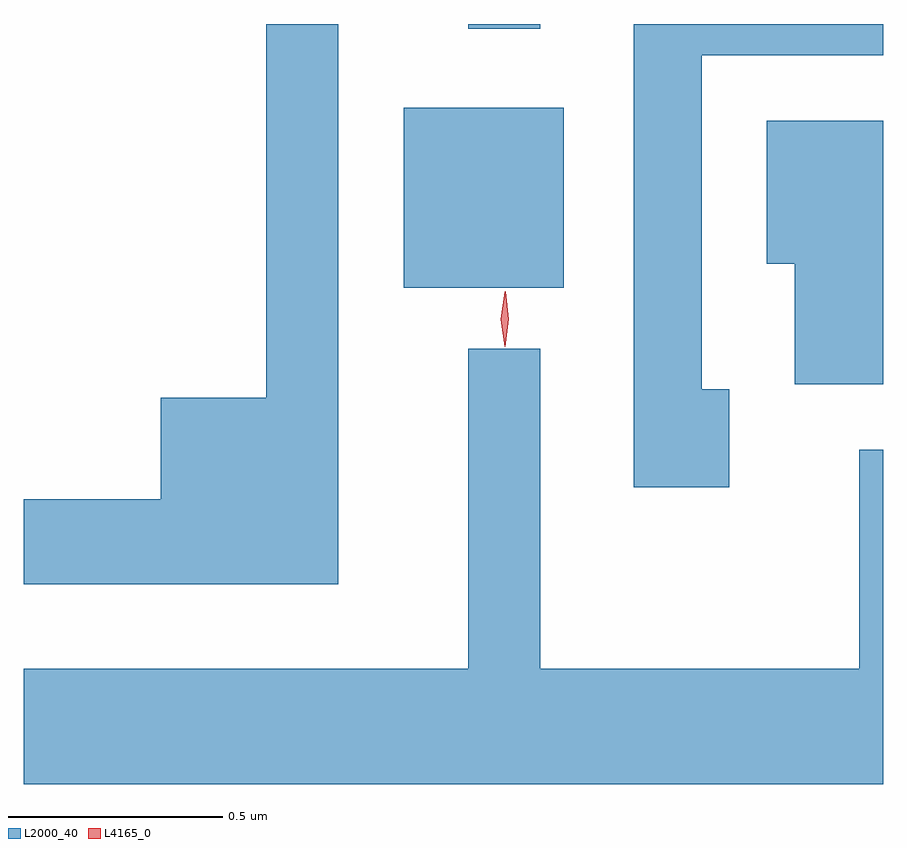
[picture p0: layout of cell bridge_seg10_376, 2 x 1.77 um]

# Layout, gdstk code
import gdstk
lib = gdstk.Library(unit=1e-6, precision=1e-09)
def R(c, l, rs):  # rectangles x0, y0, x1, y1
    for r in rs: c.add(gdstk.rectangle(r[:2], r[2:], *l))
def P(c, l, *ps):  # polygons
    for p in ps: c.add(gdstk.Polygon(p, *l))
L2000_40 = (2000, 40)
L4165_0 = (4165, 0)

bridge_seg10_376 = lib.new_cell('bridge_seg10_376')
R(bridge_seg10_376, L2000_40, [(1121.621,2163.911,1121.994,2164.329), (1121.771,2164.513,1121.939,2164.524)])
P(bridge_seg10_376, L2000_40, [(1121.469,2164.524),(1121.301,2164.524),(1121.301,2163.654),(1121.056,2163.654),(1121.056,2163.419),(1120.737,2163.419),(1120.737,2163.221),(1121.469,2163.221)],
  [(1122.379,2163.674),(1122.314,2163.674),(1122.314,2164.451),(1122.737,2164.451),(1122.737,2164.524),(1122.156,2164.524),(1122.156,2163.446),(1122.379,2163.446)],
  [(1122.737,2164.299),(1122.466,2164.299),(1122.466,2163.966),(1122.531,2163.966),(1122.531,2163.686),(1122.737,2163.686)],
  [(1122.737,2163.534),(1122.681,2163.534),(1122.681,2163.024),(1121.939,2163.024),(1121.939,2163.768),(1121.771,2163.768),(1121.771,2163.024),(1120.737,2163.024),(1120.737,2162.756),(1122.737,2162.756)])
P(bridge_seg10_376, L4165_0, [(1121.856,2163.773),(1121.856,2163.773),(1121.847,2163.837),(1121.856,2163.901),(1121.857,2163.902),(1121.858,2163.901),(1121.866,2163.837),(1121.857,2163.773)])

lib.write_gds('bridge_seg10_376.gds')
